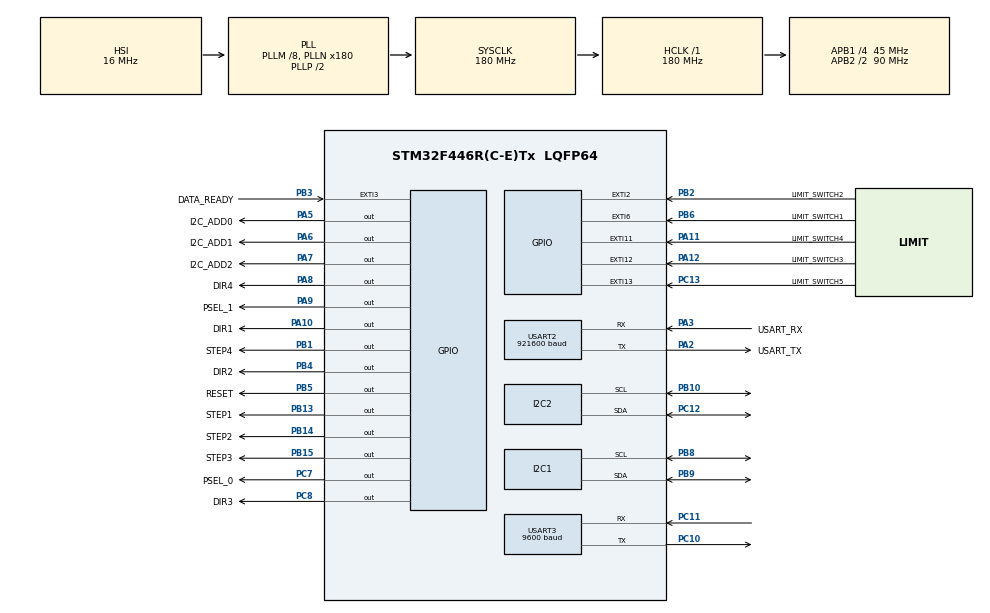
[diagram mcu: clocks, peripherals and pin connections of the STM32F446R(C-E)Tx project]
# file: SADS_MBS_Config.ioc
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I2C1.DutyCycle=I2C_DUTYCYCLE_16_9
I2C1.I2C_Mode=I2C_Fast
I2C2.I2C_Mode=I2C_Fast
Mcu.Family=STM32F4
Mcu.Name=STM32F446R(C-E)Tx
Mcu.Package=LQFP64
NVIC.EXTI15_10_IRQn=true\:0\:0\:false\:false\:true\:true\:true\:true
NVIC.EXTI2_IRQn=true\:0\:0\:false\:false\:true\:true\:true\:true
NVIC.EXTI3_IRQn=true\:0\:0\:false\:false\:true\:true\:true\:true
NVIC.EXTI9_5_IRQn=true\:0\:0\:false\:false\:true\:true\:true\:true
NVIC.PriorityGroup=NVIC_PRIORITYGROUP_0
NVIC.TIM1_UP_TIM10_IRQn=true\:0\:0\:false\:false\:true\:true\:true\:true
NVIC.TIM2_IRQn=true\:0\:0\:false\:false\:true\:true\:true\:true
NVIC.TIM3_IRQn=true\:0\:0\:false\:false\:true\:true\:true\:true
PA10.GPIO_Label=DIR1
PA10.Signal=GPIO_Output
PA11.GPIO_Label=LIMIT_SWITCH4
PA11.GPIO_ModeDefaultEXTI=GPIO_MODE_IT_RISING_FALLING
PA11.Signal=GPXTI11
PA12.GPIO_Label=LIMIT_SWITCH3
PA12.GPIO_ModeDefaultEXTI=GPIO_MODE_IT_RISING_FALLING
PA12.Signal=GPXTI12
PA13.GPIO_Label=TMS
PA13.Mode=Serial_Wire
PA13.Signal=SYS_JTMS-SWDIO
PA14.GPIO_Label=TCK
PA14.Mode=Serial_Wire
PA14.Signal=SYS_JTCK-SWCLK
PA2.GPIO_Label=USART_TX
PA2.Mode=Asynchronous
PA2.Signal=USART2_TX
PA3.GPIO_Label=USART_RX
PA3.Mode=Asynchronous
PA3.Signal=USART2_RX
PA5.GPIO_Label=I2C_ADD0
PA5.PinState=GPIO_PIN_SET
PA5.Signal=GPIO_Output
PA6.GPIO_Label=I2C_ADD1
PA6.PinState=GPIO_PIN_SET
PA6.Signal=GPIO_Output
PA7.GPIO_Label=I2C_ADD2
PA7.PinState=GPIO_PIN_SET
PA7.Signal=GPIO_Output
PA8.GPIO_Label=DIR4
PA8.Signal=GPIO_Output
PA9.GPIO_Label=PSEL_1
PA9.PinState=GPIO_PIN_SET
PA9.Signal=GPIO_Output
PB1.GPIO_Label=STEP4
PB1.Signal=GPIO_Output
PB10.Mode=I2C
PB10.Signal=I2C2_SCL
PB13.GPIO_Label=STEP1
PB13.Signal=GPIO_Output
PB14.GPIO_Label=STEP2
PB14.Signal=GPIO_Output
PB15.GPIO_Label=STEP3
PB15.Signal=GPIO_Output
PB2.GPIO_Label=LIMIT_SWITCH2
PB2.GPIO_ModeDefaultEXTI=GPIO_MODE_IT_RISING_FALLING
PB2.Signal=GPXTI2
PB3.GPIO_Label=DATA_READY
PB3.GPIO_ModeDefaultEXTI=GPIO_MODE_IT_RISING_FALLING
PB3.GPIO_PuPd=GPIO_PULLDOWN
PB3.Signal=GPXTI3
PB4.GPIO_Label=DIR2
PB4.Signal=GPIO_Output
PB5.GPIO_Label=RESET
PB5.GPIO_Speed=GPIO_SPEED_FREQ_HIGH
PB5.Signal=GPIO_Output
PB6.GPIO_Label=LIMIT_SWITCH1
PB6.GPIO_ModeDefaultEXTI=GPIO_MODE_IT_RISING_FALLING
PB6.Signal=GPXTI6
PB8.Mode=I2C
PB8.Signal=I2C1_SCL
PB9.Mode=I2C
PB9.Signal=I2C1_SDA
PC10.Mode=Asynchronous
PC10.Signal=USART3_TX
PC11.Mode=Asynchronous
PC11.Signal=USART3_RX
PC12.Mode=I2C
PC12.Signal=I2C2_SDA
PC13.GPIO_Label=LIMIT_SWITCH5
PC13.GPIO_ModeDefaultEXTI=GPIO_MODE_IT_FALLING
PC13.Signal=GPXTI13
PC14-OSC32_IN.Mode=LSE-External-Oscillator
PC14-OSC32_IN.Signal=RCC_OSC32_IN
PC15-OSC32_OUT.Mode=LSE-External-Oscillator
PC15-OSC32_OUT.Signal=RCC_OSC32_OUT
PC7.GPIO_Label=PSEL_0
PC7.PinState=GPIO_PIN_SET
PC7.Signal=GPIO_Output
PC8.GPIO_Label=DIR3
PC8.Signal=GPIO_Output
PH0-OSC_IN.Mode=HSE-External-Oscillator
PH0-OSC_IN.Signal=RCC_OSC_IN
PH1-OSC_OUT.Mode=HSE-External-Oscillator
PH1-OSC_OUT.Signal=RCC_OSC_OUT
ProjectManager.HeapSize=0x200
ProjectManager.StackSize=0x400
ProjectManager.TargetToolchain=STM32CubeIDE
RCC.48MHZClocksFreq_Value=84000000
RCC.AHBFreq_Value=180000000
RCC.APB1CLKDivider=RCC_HCLK_DIV4
RCC.APB1Freq_Value=45000000
RCC.APB1TimFreq_Value=90000000
RCC.APB2CLKDivider=RCC_HCLK_DIV2
RCC.APB2Freq_Value=90000000
RCC.APB2TimFreq_Value=180000000
RCC.CortexFreq_Value=180000000
RCC.FLatency-AdvancedSettings=FLASH_LATENCY_5
RCC.HCLKFreq_Value=180000000
RCC.HSE_VALUE=8000000
RCC.HSI_VALUE=16000000
RCC.PLLM=8
RCC.PLLN=180
RCC.SYSCLKFreq_VALUE=180000000
RCC.SYSCLKSource=RCC_SYSCLKSOURCE_PLLCLK
RCC.USBFreq_Value=180000000
RCC.VCOOutputFreq_Value=360000000
TIM1.Period=4999
TIM1.Prescaler=17999
TIM2.Period=2
TIM2.Prescaler=17999
TIM3.Channel-Output\ Compare1\ No\ Output=TIM_CHANNEL_1
TIM3.Channel-Output\ Compare2\ No\ Output=TIM_CHANNEL_2
TIM3.Period=999
TIM3.Prescaler=1799
TIM3.Pulse-Output\ Compare1\ No\ Output=50
USART2.BaudRate=921600
USART2.VirtualMode=VM_ASYNC
USART3.BaudRate=9600
USART3.VirtualMode=VM_ASYNC
VP_TIM1_VS_ClockSourceINT.Mode=Internal
VP_TIM2_VS_ClockSourceINT.Mode=Internal
VP_TIM3_VS_ClockSourceINT.Mode=Internal
VP_TIM3_VS_no_output1.Mode=Output Compare1 No Output
VP_TIM3_VS_no_output2.Mode=Output Compare2 No Output
board=NUCLEO-F446RE

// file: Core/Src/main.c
/* USER CODE BEGIN Header */
/**
  ******************************************************************************
  * @file           : main.c
  * @brief          : Main program body
  ******************************************************************************
  * @attention
  *
  * Copyright (c) 2025 STMicroelectronics.
  * All rights reserved.
  *
  * This software is licensed under terms that can be found in the LICENSE file
  * in the root directory of this software component.
  * If no LICENSE file comes with this software, it is provided AS-IS.
  *
  ******************************************************************************
  */
/* USER CODE END Header */
#include "main.h"

/* USER CODE BEGIN Includes */
#include <stdio.h>
#include <stepperControl.h>
#include <string.h>
#include "MTi.h"
#include "app.h"
/* USER CODE END Includes */

I2C_HandleTypeDef hi2c1;
I2C_HandleTypeDef hi2c2;

TIM_HandleTypeDef htim1;
TIM_HandleTypeDef htim2;
TIM_HandleTypeDef htim3;

UART_HandleTypeDef huart2;
UART_HandleTypeDef huart3;

/* USER CODE BEGIN PV */
UART_HandleTypeDef *user_huart;
/* USER CODE END PV */

void SystemClock_Config(void);
static void MX_GPIO_Init(void);
static void MX_USART2_UART_Init(void);
static void MX_I2C1_Init(void);
static void MX_TIM2_Init(void);
static void MX_TIM3_Init(void);
static void MX_TIM1_Init(void);
static void MX_I2C2_Init(void);
static void MX_USART3_UART_Init(void);

int main(void)
{

  /* MCU Configuration--------------------------------------------------------*/

  /* Reset of all peripherals, Initializes the Flash interface and the Systick. */
  HAL_Init();

  /* Configure the system clock */
  SystemClock_Config();

  /* Initialize all configured peripherals */
  MX_GPIO_Init();
  MX_USART2_UART_Init();
  MX_I2C1_Init();
  MX_TIM2_Init();
  MX_TIM3_Init();
  MX_TIM1_Init();
  MX_I2C2_Init();
  MX_USART3_UART_Init();
  /* USER CODE BEGIN 2 */

  	user_huart = &huart3;
//    MTI CODE: COMMENT OUT IF NOT CONNECTED OR PROGRAM WILL FAIL TO START
    uint8_t sampleRate = 0x14;
    MTi_init(sampleRate, user_huart);
    int sample_ARR = (180000000)/((1799+1)*(sampleRate + 3)) - 1;
    __HAL_TIM_SET_AUTORELOAD(&htim3, sample_ARR);
    HAL_TIM_Base_Start_IT(&htim3); // Start TIM3 interrupts to take measurements

	HAL_GPIO_WritePin(RESET_PORT, RESET_PIN, GPIO_PIN_SET);
	HAL_Delay(100);
	HAL_GPIO_WritePin(RESET_PORT, RESET_PIN, GPIO_PIN_RESET);

	stepperControl_init(user_huart);
	app_start(user_huart);

  /* USER CODE END 2 */

  /* Infinite loop */
  while (1)
  {

  }
}

void SystemClock_Config(void)
{
  RCC_OscInitTypeDef RCC_OscInitStruct = {0};
  RCC_ClkInitTypeDef RCC_ClkInitStruct = {0};

  /** Configure the main internal regulator output voltage
  */
  __HAL_RCC_PWR_CLK_ENABLE();
  __HAL_PWR_VOLTAGESCALING_CONFIG(PWR_REGULATOR_VOLTAGE_SCALE1);

  /** Initializes the RCC Oscillators according to the specified parameters
  * in the RCC_OscInitTypeDef structure.
  */
  RCC_OscInitStruct.OscillatorType = RCC_OSCILLATORTYPE_HSI;
  RCC_OscInitStruct.HSIState = RCC_HSI_ON;
  RCC_OscInitStruct.HSICalibrationValue = RCC_HSICALIBRATION_DEFAULT;
  RCC_OscInitStruct.PLL.PLLState = RCC_PLL_ON;
  RCC_OscInitStruct.PLL.PLLSource = RCC_PLLSOURCE_HSI;
  RCC_OscInitStruct.PLL.PLLM = 8;
  RCC_OscInitStruct.PLL.PLLN = 180;
  RCC_OscInitStruct.PLL.PLLP = RCC_PLLP_DIV2;
  RCC_OscInitStruct.PLL.PLLQ = 2;
  RCC_OscInitStruct.PLL.PLLR = 2;
  if (HAL_RCC_OscConfig(&RCC_OscInitStruct) != HAL_OK)
  {
    Error_Handler();
  }

  /** Activate the Over-Drive mode
  */
  if (HAL_PWREx_EnableOverDrive() != HAL_OK)
  {
    Error_Handler();
  }

  /** Initializes the CPU, AHB and APB buses clocks
  */
  RCC_ClkInitStruct.ClockType = RCC_CLOCKTYPE_HCLK|RCC_CLOCKTYPE_SYSCLK
                              |RCC_CLOCKTYPE_PCLK1|RCC_CLOCKTYPE_PCLK2;
  RCC_ClkInitStruct.SYSCLKSource = RCC_SYSCLKSOURCE_PLLCLK;
  RCC_ClkInitStruct.AHBCLKDivider = RCC_SYSCLK_DIV1;
  RCC_ClkInitStruct.APB1CLKDivider = RCC_HCLK_DIV4;
  RCC_ClkInitStruct.APB2CLKDivider = RCC_HCLK_DIV2;

  if (HAL_RCC_ClockConfig(&RCC_ClkInitStruct, FLASH_LATENCY_5) != HAL_OK)
  {
    Error_Handler();
  }
}

static void MX_I2C1_Init(void)
{

  hi2c1.Instance = I2C1;
  hi2c1.Init.ClockSpeed = 400000;
  hi2c1.Init.DutyCycle = I2C_DUTYCYCLE_16_9;
  hi2c1.Init.OwnAddress1 = 0;
  hi2c1.Init.AddressingMode = I2C_ADDRESSINGMODE_7BIT;
  hi2c1.Init.DualAddressMode = I2C_DUALADDRESS_DISABLE;
  hi2c1.Init.OwnAddress2 = 0;
  hi2c1.Init.GeneralCallMode = I2C_GENERALCALL_DISABLE;
  hi2c1.Init.NoStretchMode = I2C_NOSTRETCH_DISABLE;
  if (HAL_I2C_Init(&hi2c1) != HAL_OK)
  {
    Error_Handler();
  }

}

static void MX_I2C2_Init(void)
{

  hi2c2.Instance = I2C2;
  hi2c2.Init.ClockSpeed = 400000;
  hi2c2.Init.DutyCycle = I2C_DUTYCYCLE_2;
  hi2c2.Init.OwnAddress1 = 0;
  hi2c2.Init.AddressingMode = I2C_ADDRESSINGMODE_7BIT;
  hi2c2.Init.DualAddressMode = I2C_DUALADDRESS_DISABLE;
  hi2c2.Init.OwnAddress2 = 0;
  hi2c2.Init.GeneralCallMode = I2C_GENERALCALL_DISABLE;
  hi2c2.Init.NoStretchMode = I2C_NOSTRETCH_DISABLE;
  if (HAL_I2C_Init(&hi2c2) != HAL_OK)
  {
    Error_Handler();
  }

}

static void MX_TIM1_Init(void)
{

  TIM_ClockConfigTypeDef sClockSourceConfig = {0};
  TIM_MasterConfigTypeDef sMasterConfig = {0};

  htim1.Instance = TIM1;
  htim1.Init.Prescaler = 17999;
  htim1.Init.CounterMode = TIM_COUNTERMODE_UP;
  htim1.Init.Period = 4999;
  htim1.Init.ClockDivision = TIM_CLOCKDIVISION_DIV1;
  htim1.Init.RepetitionCounter = 0;
  htim1.Init.AutoReloadPreload = TIM_AUTORELOAD_PRELOAD_DISABLE;
  if (HAL_TIM_Base_Init(&htim1) != HAL_OK)
  {
    Error_Handler();
  }
  sClockSourceConfig.ClockSource = TIM_CLOCKSOURCE_INTERNAL;
  if (HAL_TIM_ConfigClockSource(&htim1, &sClockSourceConfig) != HAL_OK)
  {
    Error_Handler();
  }
  sMasterConfig.MasterOutputTrigger = TIM_TRGO_RESET;
  sMasterConfig.MasterSlaveMode = TIM_MASTERSLAVEMODE_DISABLE;
  if (HAL_TIMEx_MasterConfigSynchronization(&htim1, &sMasterConfig) != HAL_OK)
  {
    Error_Handler();
  }

}

static void MX_TIM2_Init(void)
{

  TIM_ClockConfigTypeDef sClockSourceConfig = {0};
  TIM_MasterConfigTypeDef sMasterConfig = {0};

  htim2.Instance = TIM2;
  htim2.Init.Prescaler = 17999;
  htim2.Init.CounterMode = TIM_COUNTERMODE_UP;
  htim2.Init.Period = 2;
  htim2.Init.ClockDivision = TIM_CLOCKDIVISION_DIV1;
  htim2.Init.AutoReloadPreload = TIM_AUTORELOAD_PRELOAD_DISABLE;
  if (HAL_TIM_Base_Init(&htim2) != HAL_OK)
  {
    Error_Handler();
  }
  sClockSourceConfig.ClockSource = TIM_CLOCKSOURCE_INTERNAL;
  if (HAL_TIM_ConfigClockSource(&htim2, &sClockSourceConfig) != HAL_OK)
  {
    Error_Handler();
  }
  sMasterConfig.MasterOutputTrigger = TIM_TRGO_RESET;
  sMasterConfig.MasterSlaveMode = TIM_MASTERSLAVEMODE_DISABLE;
  if (HAL_TIMEx_MasterConfigSynchronization(&htim2, &sMasterConfig) != HAL_OK)
  {
    Error_Handler();
  }

}

static void MX_TIM3_Init(void)
{

  TIM_ClockConfigTypeDef sClockSourceConfig = {0};
  TIM_MasterConfigTypeDef sMasterConfig = {0};
  TIM_OC_InitTypeDef sConfigOC = {0};

  htim3.Instance = TIM3;
  htim3.Init.Prescaler = 1799;
  htim3.Init.CounterMode = TIM_COUNTERMODE_UP;
  htim3.Init.Period = 999;
  htim3.Init.ClockDivision = TIM_CLOCKDIVISION_DIV1;
  htim3.Init.AutoReloadPreload = TIM_AUTORELOAD_PRELOAD_DISABLE;
  if (HAL_TIM_Base_Init(&htim3) != HAL_OK)
  {
    Error_Handler();
  }
  sClockSourceConfig.ClockSource = TIM_CLOCKSOURCE_INTERNAL;
  if (HAL_TIM_ConfigClockSource(&htim3, &sClockSourceConfig) != HAL_OK)
  {
    Error_Handler();
  }
  if (HAL_TIM_OC_Init(&htim3) != HAL_OK)
  {
    Error_Handler();
  }
  sMasterConfig.MasterOutputTrigger = TIM_TRGO_RESET;
  sMasterConfig.MasterSlaveMode = TIM_MASTERSLAVEMODE_DISABLE;
  if (HAL_TIMEx_MasterConfigSynchronization(&htim3, &sMasterConfig) != HAL_OK)
  {
    Error_Handler();
  }
  sConfigOC.OCMode = TIM_OCMODE_TIMING;
  sConfigOC.Pulse = 50;
  sConfigOC.OCPolarity = TIM_OCPOLARITY_HIGH;
  sConfigOC.OCFastMode = TIM_OCFAST_DISABLE;
  if (HAL_TIM_OC_ConfigChannel(&htim3, &sConfigOC, TIM_CHANNEL_1) != HAL_OK)
  {
    Error_Handler();
  }
  sConfigOC.Pulse = 0;
  if (HAL_TIM_OC_ConfigChannel(&htim3, &sConfigOC, TIM_CHANNEL_2) != HAL_OK)
  {
    Error_Handler();
  }

}

static void MX_USART2_UART_Init(void)
{

  huart2.Instance = USART2;
  huart2.Init.BaudRate = 921600;
  huart2.Init.WordLength = UART_WORDLENGTH_8B;
  huart2.Init.StopBits = UART_STOPBITS_1;
  huart2.Init.Parity = UART_PARITY_NONE;
  huart2.Init.Mode = UART_MODE_TX_RX;
  huart2.Init.HwFlowCtl = UART_HWCONTROL_NONE;
  huart2.Init.OverSampling = UART_OVERSAMPLING_16;
  if (HAL_UART_Init(&huart2) != HAL_OK)
  {
    Error_Handler();
  }

}

static void MX_USART3_UART_Init(void)
{

  huart3.Instance = USART3;
  huart3.Init.BaudRate = 9600;
  huart3.Init.WordLength = UART_WORDLENGTH_8B;
  huart3.Init.StopBits = UART_STOPBITS_1;
  huart3.Init.Parity = UART_PARITY_NONE;
  huart3.Init.Mode = UART_MODE_TX_RX;
  huart3.Init.HwFlowCtl = UART_HWCONTROL_NONE;
  huart3.Init.OverSampling = UART_OVERSAMPLING_16;
  if (HAL_UART_Init(&huart3) != HAL_OK)
  {
    Error_Handler();
  }

}

static void MX_GPIO_Init(void)
{
  GPIO_InitTypeDef GPIO_InitStruct = {0};

  /* GPIO Ports Clock Enable */
  __HAL_RCC_GPIOC_CLK_ENABLE();
  __HAL_RCC_GPIOH_CLK_ENABLE();
  __HAL_RCC_GPIOA_CLK_ENABLE();
  __HAL_RCC_GPIOB_CLK_ENABLE();

  /*Configure GPIO pin Output Level */
  HAL_GPIO_WritePin(GPIOA, I2C_ADD0_Pin|I2C_ADD1_Pin|I2C_ADD2_Pin|PSEL_1_Pin, GPIO_PIN_SET);

  /*Configure GPIO pin Output Level */
  HAL_GPIO_WritePin(GPIOB, STEP4_Pin|STEP1_Pin|STEP2_Pin|STEP3_Pin
                          |DIR2_Pin|RESET_Pin, GPIO_PIN_RESET);

  /*Configure GPIO pin Output Level */
  HAL_GPIO_WritePin(PSEL_0_GPIO_Port, PSEL_0_Pin, GPIO_PIN_SET);

  /*Configure GPIO pin Output Level */
  HAL_GPIO_WritePin(DIR3_GPIO_Port, DIR3_Pin, GPIO_PIN_RESET);

  /*Configure GPIO pin Output Level */
  HAL_GPIO_WritePin(GPIOA, DIR4_Pin|DIR1_Pin, GPIO_PIN_RESET);

  /*Configure GPIO pin : LIMIT_SWITCH5_Pin */
  GPIO_InitStruct.Pin = LIMIT_SWITCH5_Pin;
  GPIO_InitStruct.Mode = GPIO_MODE_IT_FALLING;
  GPIO_InitStruct.Pull = GPIO_NOPULL;
  HAL_GPIO_Init(LIMIT_SWITCH5_GPIO_Port, &GPIO_InitStruct);

  /*Configure GPIO pins : I2C_ADD0_Pin I2C_ADD1_Pin I2C_ADD2_Pin DIR4_Pin
                           PSEL_1_Pin DIR1_Pin */
  GPIO_InitStruct.Pin = I2C_ADD0_Pin|I2C_ADD1_Pin|I2C_ADD2_Pin|DIR4_Pin
                          |PSEL_1_Pin|DIR1_Pin;
  GPIO_InitStruct.Mode = GPIO_MODE_OUTPUT_PP;
  GPIO_InitStruct.Pull = GPIO_NOPULL;
  GPIO_InitStruct.Speed = GPIO_SPEED_FREQ_LOW;
  HAL_GPIO_Init(GPIOA, &GPIO_InitStruct);

  /*Configure GPIO pins : STEP4_Pin STEP1_Pin STEP2_Pin STEP3_Pin
                           DIR2_Pin */
  GPIO_InitStruct.Pin = STEP4_Pin|STEP1_Pin|STEP2_Pin|STEP3_Pin
                          |DIR2_Pin;
  GPIO_InitStruct.Mode = GPIO_MODE_OUTPUT_PP;
  GPIO_InitStruct.Pull = GPIO_NOPULL;
  GPIO_InitStruct.Speed = GPIO_SPEED_FREQ_LOW;
  HAL_GPIO_Init(GPIOB, &GPIO_InitStruct);

  /*Configure GPIO pins : LIMIT_SWITCH2_Pin LIMIT_SWITCH1_Pin */
  GPIO_InitStruct.Pin = LIMIT_SWITCH2_Pin|LIMIT_SWITCH1_Pin;
  GPIO_InitStruct.Mode = GPIO_MODE_IT_RISING_FALLING;
  GPIO_InitStruct.Pull = GPIO_NOPULL;
  HAL_GPIO_Init(GPIOB, &GPIO_InitStruct);

  /*Configure GPIO pins : PSEL_0_Pin DIR3_Pin */
  GPIO_InitStruct.Pin = PSEL_0_Pin|DIR3_Pin;
  GPIO_InitStruct.Mode = GPIO_MODE_OUTPUT_PP;
  GPIO_InitStruct.Pull = GPIO_NOPULL;
  GPIO_InitStruct.Speed = GPIO_SPEED_FREQ_LOW;
  HAL_GPIO_Init(GPIOC, &GPIO_InitStruct);

  /*Configure GPIO pins : LIMIT_SWITCH4_Pin LIMIT_SWITCH3_Pin */
  GPIO_InitStruct.Pin = LIMIT_SWITCH4_Pin|LIMIT_SWITCH3_Pin;
  GPIO_InitStruct.Mode = GPIO_MODE_IT_RISING_FALLING;
  GPIO_InitStruct.Pull = GPIO_NOPULL;
  HAL_GPIO_Init(GPIOA, &GPIO_InitStruct);

  /*Configure GPIO pin : DATA_READY_Pin */
  GPIO_InitStruct.Pin = DATA_READY_Pin;
  GPIO_InitStruct.Mode = GPIO_MODE_IT_RISING_FALLING;
  GPIO_InitStruct.Pull = GPIO_PULLDOWN;
  HAL_GPIO_Init(DATA_READY_GPIO_Port, &GPIO_InitStruct);

  /*Configure GPIO pin : RESET_Pin */
  GPIO_InitStruct.Pin = RESET_Pin;
  GPIO_InitStruct.Mode = GPIO_MODE_OUTPUT_PP;
  GPIO_InitStruct.Pull = GPIO_NOPULL;
  GPIO_InitStruct.Speed = GPIO_SPEED_FREQ_HIGH;
  HAL_GPIO_Init(RESET_GPIO_Port, &GPIO_InitStruct);

  /* EXTI interrupt init*/
  HAL_NVIC_SetPriority(EXTI2_IRQn, 0, 0);
  HAL_NVIC_EnableIRQ(EXTI2_IRQn);

  HAL_NVIC_SetPriority(EXTI3_IRQn, 0, 0);
  HAL_NVIC_EnableIRQ(EXTI3_IRQn);

  HAL_NVIC_SetPriority(EXTI9_5_IRQn, 0, 0);
  HAL_NVIC_EnableIRQ(EXTI9_5_IRQn);

  HAL_NVIC_SetPriority(EXTI15_10_IRQn, 0, 0);
  HAL_NVIC_EnableIRQ(EXTI15_10_IRQn);

}

void Error_Handler(void)
{
  __disable_irq();
  while (1)
  {
  }
}
